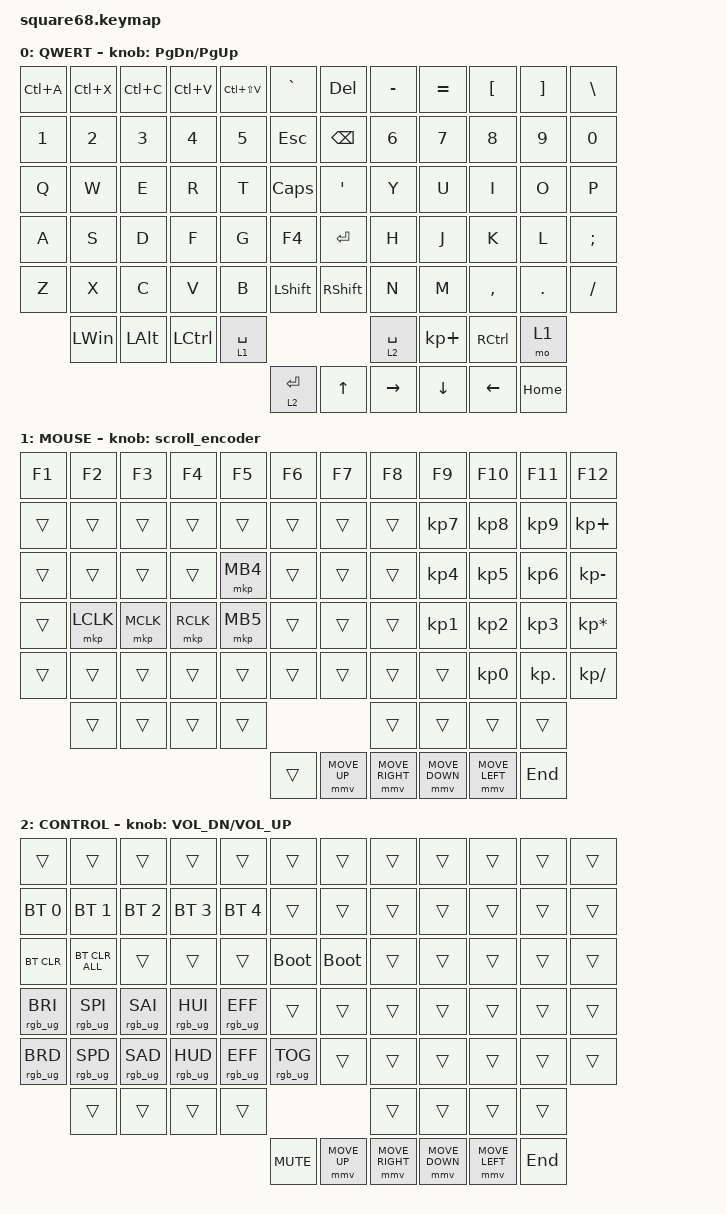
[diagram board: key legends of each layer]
#include <behaviors/mouse_keys.dtsi>
#include <behaviors.dtsi>
#include <dt-bindings/zmk/bt.h>
#include <dt-bindings/zmk/keys.h>
#include <dt-bindings/zmk/mouse.h>
#include <dt-bindings/zmk/rgb.h>

#define ZMK_MOUSE_DEFAULT_MOVE_VAL 1200  // 600
#define ZMK_MOUSE_DEFAULT_SCRL_VAL 20    // 10
#define U_MS_U &mmv MOVE_UP
#define U_MS_D &mmv MOVE_DOWN
#define U_MS_L &mmv MOVE_LEFT
#define U_MS_R &mmv MOVE_RIGHT
#define ZMK_MOUSE_DEFAULT_MOVE_VAL 1200  //  600
#define ZMK_MOUSE_DEFAULT_SCRL_VAL 20    // 10

&lt {
    flavor = "tap-preferred";
    quick-tap-ms = <180>;
};

/ {
    behaviors {
        mmv {
            acceleration-exponent = <1>;      // 1
            time-to-max-speed-ms = <900>;    // 40
            delay-ms = <0>;                   // 0
        };

        msc {
            acceleration-exponent = <1>;      // 0
            time-to-max-speed-ms = <400>;      // 500
            delay-ms = <0>;                   //   10
        };
    };

    scroll_encoder: scroll_encoder {
        compatible = "zmk,behavior-sensor-rotate";
        #sensor-binding-cells = <0>;
        bindings = <&msc SCRL_DOWN>, <&msc SCRL_UP>;

        tap-ms = <30>;
    };

    keymap {
        compatible = "zmk,keymap";

        LAYER0 {
            bindings = <
&kp LC(A)  &kp LC(X)  &kp LC(C)     &kp LC(V)  &kp LC(LS(V))  &kp GRAVE       &kp DEL          &kp MINUS    &kp EQUAL    &kp LBKT   &kp RBKT  &kp BSLH
&kp N1     &kp N2     &kp N3        &kp N4     &kp N5         &kp ESC         &kp BSPC         &kp N6       &kp N7       &kp N8     &kp N9    &kp N0
&kp Q      &kp W      &kp E         &kp R      &kp T          &kp CAPSLOCK    &kp SQT          &kp Y        &kp U        &kp I      &kp O     &kp P
&kp A      &kp S      &kp D         &kp F      &kp G          &kp F4          &kp ENTER        &kp H        &kp J        &kp K      &kp L     &kp SEMI
&kp Z      &kp X      &kp C         &kp V      &kp B          &kp LEFT_SHIFT  &kp RIGHT_SHIFT  &kp N        &kp M        &kp COMMA  &kp DOT   &kp FSLH
           &kp LWIN   &kp LEFT_ALT  &kp LCTRL  &lt 1 SPACE                                     &lt 2 SPACE  &kp KP_PLUS  &kp RCTRL  &mo 1
                                                              &lt 2 ENTER     &kp UP           &kp RIGHT    &kp DOWN     &kp LEFT   &kp HOME
            >;

            display-name = "QWERT";
            sensor-bindings = <&inc_dec_kp PG_DN PG_UP>;
        };

        layer_1 {
            bindings = <
&kp F1  &kp F2     &kp F3     &kp F4     &kp F5    &kp F6  &kp F7        &kp F8           &kp F9          &kp F10         &kp F11     &kp F12
&trans  &trans     &trans     &trans     &trans    &trans  &trans        &trans           &kp KP_N7       &kp KP_N8       &kp KP_N9   &kp KP_PLUS
&trans  &trans     &trans     &trans     &mkp MB4  &trans  &trans        &trans           &kp KP_N4       &kp KP_N5       &kp KP_N6   &kp KP_MINUS
&trans  &mkp LCLK  &mkp MCLK  &mkp RCLK  &mkp MB5  &trans  &trans        &trans           &kp KP_N1       &kp KP_N2       &kp KP_N3   &kp KP_MULTIPLY
&trans  &trans     &trans     &trans     &trans    &trans  &trans        &trans           &trans          &kp KP_N0       &kp KP_DOT  &kp KP_DIVIDE
        &trans     &trans     &trans     &trans                          &trans           &trans          &trans          &trans
                                                   &trans  &mmv MOVE_UP  &mmv MOVE_RIGHT  &mmv MOVE_DOWN  &mmv MOVE_LEFT  &kp END
            >;

            display-name = "MOUSE";
            sensor-bindings = <&scroll_encoder>;
        };

        layer_2 {
            display-name = "CONTROL";
            bindings = <
&trans           &trans           &trans           &trans           &trans           &trans           &trans        &trans           &trans          &trans          &trans   &trans
&bt BT_SEL 0     &bt BT_SEL 1     &bt BT_SEL 2     &bt BT_SEL 3     &bt BT_SEL 4     &trans           &trans        &trans           &trans          &trans          &trans   &trans
&bt BT_CLR       &bt BT_CLR_ALL   &trans           &trans           &trans           &bootloader      &bootloader   &trans           &trans          &trans          &trans   &trans
&rgb_ug RGB_BRI  &rgb_ug RGB_SPI  &rgb_ug RGB_SAI  &rgb_ug RGB_HUI  &rgb_ug RGB_EFF  &trans           &trans        &trans           &trans          &trans          &trans   &trans
&rgb_ug RGB_BRD  &rgb_ug RGB_SPD  &rgb_ug RGB_SAD  &rgb_ug RGB_HUD  &rgb_ug RGB_EFF  &rgb_ug RGB_TOG  &trans        &trans           &trans          &trans          &trans   &trans
                 &trans           &trans           &trans           &trans                                          &trans           &trans          &trans          &trans
                                                                                     &kp C_MUTE       &mmv MOVE_UP  &mmv MOVE_RIGHT  &mmv MOVE_DOWN  &mmv MOVE_LEFT  &kp END
            >;

            sensor-bindings = <&inc_dec_kp C_VOL_DN C_VOL_UP>;
        };
    };
};
